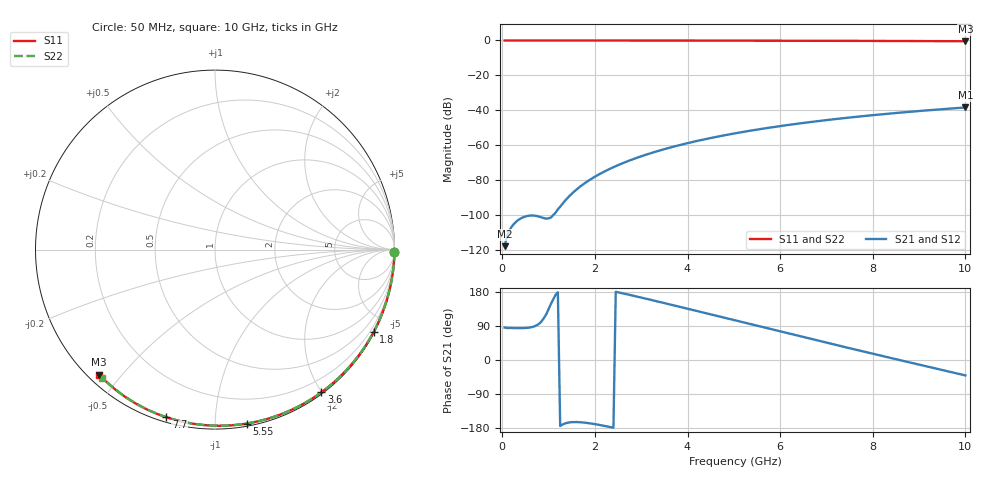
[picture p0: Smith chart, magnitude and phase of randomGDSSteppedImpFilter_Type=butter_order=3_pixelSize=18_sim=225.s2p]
! freq	dB(S11)	phase(S11)	dB(S12)	phase(S12)
!  dB(S21)	phase(S21)	dB(S22)	phase(S22)
!S-par simulation data
#  GHz  S  DB  R 50
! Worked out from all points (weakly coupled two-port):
!   200 points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, 50 MHz to 10 GHz, reference 50 ohm
!   highest |S21| = -38.34 dB at 10 GHz (marker M1); lowest = -117.7 dB at 50 MHz (marker M2)
!   lowest |S11| = -0.4 dB at 10 GHz (marker M3), VSWR 38.80, Z = 1.53 - j21.8 ohm
!   |S11| at or under -10 dB: nowhere
!   |S22| runs from -0.4 to 0.0 dB; largest |S21 - S12| = 0
!   S11 on the Smith chart (normalised r, x): 50 MHz: open; 1.8 GHz: 0.04, -4.12; 3.6 GHz: 0.02, -1.99; 5.55 GHz: 0.02, -1.20; 7.7 GHz: 0.02, -0.75; 10 GHz: 0.03, -0.44
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0.05  -0.00 -0.8  -117.66 85.7  -117.66 85.7  -0.00 -0.8
0.45  -0.01 -6.9  -101.13 84.2  -101.13 84.2  -0.01 -6.8
0.9  -0.02 -13.8  -101.66 111.0  -101.66 111.0  -0.02 -13.6
1.75  -0.03 -26.5  -82.21 -165.0  -82.21 -165.0  -0.03 -26.2
1.8  -0.03 -27.3  -81.28 -165.7  -81.28 -165.7  -0.03 -27.0
1.85  -0.04 -28.0  -80.39 -166.4  -80.39 -166.4  -0.04 -27.7
1.9  -0.04 -28.8  -79.53 -167.3  -79.53 -167.3  -0.04 -28.4
2.05  -0.04 -31.0  -77.15 -170.3  -77.15 -170.3  -0.04 -30.6
2.25  -0.04 -33.9  -74.35 -174.9  -74.35 -174.9  -0.04 -33.5
2.65  -0.05 -39.8  -69.66 174.6  -69.66 174.6  -0.05 -39.3
3  -0.06 -44.8  -66.25 164.8  -66.25 164.8  -0.06 -44.3
3.4  -0.07 -50.5  -62.92 153.1  -62.92 153.1  -0.07 -49.9
3.6  -0.07 -53.3  -61.43 147.2  -61.43 147.2  -0.07 -52.7
4.3  -0.09 -63.0  -56.92 126.3  -56.92 126.3  -0.09 -62.3
5.05  -0.11 -73.1  -53.00 103.8  -53.00 103.8  -0.11 -72.2
5.55  -0.13 -79.6  -50.78 88.8  -50.78 88.8  -0.13 -78.7
6.1  -0.15 -86.6  -48.60 72.4  -48.60 72.4  -0.15 -85.6
6.7  -0.18 -94.1  -46.51 54.6  -46.51 54.6  -0.18 -93.1
7.7  -0.24 -106.2  -43.52 25.3  -43.52 25.3  -0.24 -105.0
8.35  -0.29 -113.9  -41.85 6.5  -41.85 6.5  -0.29 -112.6
9.15  -0.36 -123.1  -40.03 -16.5  -40.03 -16.5  -0.36 -121.8
10  -0.45 -132.9  -38.34 -40.7  -38.34 -40.7  -0.44 -131.3
